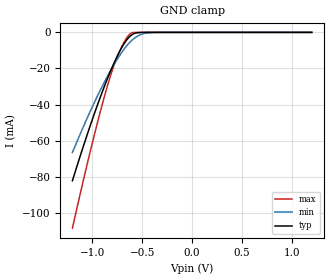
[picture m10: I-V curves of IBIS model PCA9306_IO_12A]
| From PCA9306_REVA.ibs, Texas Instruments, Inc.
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[Model]   PCA9306_IO_12A
Model_type  Terminator
| variable   typ   min   max
C_comp   2.84pF   2.52pF   3.24pF
| C_tri-state   2.84pF   2.52pF   3.24pF
[Temperature Range]   40   100   -40
| Ambient temperature   25   85   -40
[Voltage range]   1.2   1.2   1.2
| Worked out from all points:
|   GND clamp passes 1 mA (typ) near -0.59 V on its own axis
[GND Clamp]
| PCA9306_IO_12A
|   Voltage   I(typ)   I(min)   I(max)
-1.2V     -82.18mA   -66.55mA   -108.4mA
-1V       -48.23mA   -41.19mA   -61.2mA
-915mV    -35.1mA    -31.42mA   -42.81mA
-840mV    -24.41mA   -23.43mA   -27.99mA
-785mV    -17.27mA   -18.04mA   -18.52mA
-730mV    -10.92mA   -13.12mA   -10.85mA
-670mV    -5.288mA   -8.435mA   -4.262mA
-620mV    -2.059mA   -5.247mA   -792.2uA
-575mV    -509.5uA   -3.113mA   -31.16uA
-520mV    -89.48uA   -1.362mA   -3.481uA
-405mV    -2.569uA   -120.3uA   -35.6nA
1.2V      17.63pA    2.878nA    5.13pA
